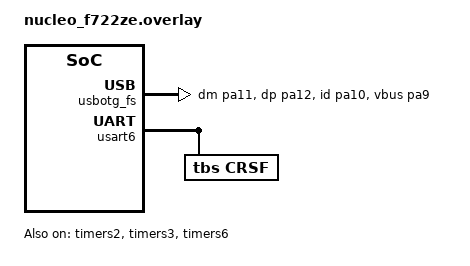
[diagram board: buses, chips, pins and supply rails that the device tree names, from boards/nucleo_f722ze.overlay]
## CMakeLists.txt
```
# zflight application
#
# Copyright (c) 2024 Arthur Eichelberger
# SPDX-License-Identifier: Apache-2.0

cmake_minimum_required(VERSION 3.13.1)

# Check the required build args were supplied
if (NOT DEFINED NUM_MOTORS)
    message(FATAL_ERROR "NUM_MOTORS not set")
else()
    set(ENV{NUM_MOTORS} ${NUM_MOTORS})
endif()
if (NOT DEFINED ESC_TYPE)
    message(FATAL_ERROR "ESC_TYPE not set")
endif()
if (NOT DEFINED RX_TYPE)
    message(FATAL_ERROR "RX_TYPE not set")
endif()

# Set important directories
set(APP_DIR ${CMAKE_CURRENT_LIST_DIR})
set(ZEPHYR_WORKSPACE ${APP_DIR}/../..)
set(ENV{ZEPHYR_BASE} ${ZEPHYR_WORKSPACE}/zephyr)
set(ENV{ZEPHYR_SDK_INSTALL_DIR} ${ZEPHYR_WORKSPACE}/zephyr-sdk)
set(ZFLIGHT_DIR ${ZEPHYR_WORKSPACE}/zflight)

# Set the CMake build type from Zephur
if (${CMAKE_BUILD_TYPE} STREQUAL "Debug")
    set(CMAKE_C_FLAGS_DEBUG "-Og")
    list(APPEND EXTRA_CONF_FILE "prj_debug.conf") 
endif()

# Set snippets from inputs
set(ESC_SNIPPET esc-${ESC_TYPE})
set(RX_SNIPPET rx-${RX_TYPE})
list(APPEND SNIPPET 
    usb-terminal
#    ${ESC_SNIPPET}
    ${RX_SNIPPET}
)

# Configure Zephyr
find_package(Zephyr REQUIRED HINTS $ENV{ZEPHYR_BASE})
project(zflight LANGUAGES C)

# Configure zflight source
target_include_directories(app PRIVATE include)
file(GLOB_RECURSE SRCS src/*.c)
target_sources(app PRIVATE ${SRCS})
```

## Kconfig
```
# Copyright (c) 2024 Arthur Eichelberger
# SPDX-License-Identifier: Apache-2.0

menu "zflight"
source "Kconfig.zephyr"
endmenu

module = ZFLIGHT
module-str = ZFLIGHT
source "subsys/logging/Kconfig.template.log_config"

config ZFLIGHT_NUM_MOTORS
	int
    default $(NUM_MOTORS)
	help
	  Configure the number of motors on the platform.
```

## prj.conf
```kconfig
# This file is used to configure the required systems for all platforms.

# Config the bin file name
CONFIG_KERNEL_BIN_NAME="zflight"

# Enable Counters
CONFIG_COUNTER=y

# Enable GPIO
CONFIG_GPIO=y

# Enable UART
CONFIG_SERIAL=y
CONFIG_UART_INTERRUPT_DRIVEN=y
#CONFIG_UART_ASYNC_API=y

# Enable terminal
CONFIG_LOG=y
CONFIG_LOG_DEFAULT_LEVEL=1
CONFIG_SHELL=y
CONFIG_SHELL_PROMPT_UART="zflight:~$ "
CONFIG_SHELL_MINIMAL=y
CONFIG_SHELL_HELP=y
CONFIG_SHELL_AUTOSTART=n

# Enable State Machine Framework
CONFIG_SMF=y

# Test features
CONFIG_OUTPUT_DISASSEMBLY=y
CONFIG_RC_LINK_SHELL=y
CONFIG_RC_LINK_LOG_LEVEL_INF=y
CONFIG_DSHOT_BIDIR=n # untested
CONFIG_DSHOT_STM32_DMA_BURST=n # untested
```

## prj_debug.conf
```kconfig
CONFIG_DEBUG_OPTIMIZATIONS=y
```

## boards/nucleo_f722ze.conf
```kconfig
CONFIG_USB_DEVICE_VID=0x0483
CONFIG_USB_DEVICE_PID=0x5740
CONFIG_USB_DEVICE_MANUFACTURER="STMicroelectronics"
```

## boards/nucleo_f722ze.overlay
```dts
/*
 * Copyright (c) 2024 Arthur Eichelberger
 *
 * SPDX-License-Identifier: Apache-2.0
 */

/ {
	chosen {
		zflight,flight-counter = &flight_timer;
	};

	dshots: esc-manager {
		compatible = "esc-manager";
		m1 {
			esc = <&m1_dshot>;
			motor-index = <0>;
		};
		m2 {
			esc = <&m2_dshot>;
			motor-index = <1>;
		};
		m3 {
			esc = <&m3_dshot>;
			motor-index = <2>;
		};
		m4 {
			esc = <&m4_dshot>;
			motor-index = <3>;
		};
	};
};

&pwm1 {
    status = "disabled";
};

&dma1 {
    status = "okay";
};

zflight_terminal: &usbotg_fs {
	pinctrl-0 = <&usb_otg_fs_dm_pa11 &usb_otg_fs_dp_pa12 &usb_otg_fs_id_pa10 &usb_otg_fs_vbus_pa9>;
	pinctrl-names = "default";
	status = "okay";
};

&usart6 {
	status = "okay";
	fifo-enable;
	dmas =  <&dma2 1 5 0x28440 0x3>,
			<&dma2 6 5 0x28480 0x3>;
	dma-names = "tx", "rx";
	crsf: rc_link_crsf {
		compatible = "tbs,crsf";
		elrs;
		addr = <0xC8>;
		dev_name = "zflight";
	};
};

&timers2 {
	status = "okay";
	dshot1: dshot {
		compatible = "st,stm32-dshot";
		pinctrl-0 = <&tim2_ch1_pa0>,
					<&tim2_ch3_pb10>,
					<&tim2_ch4_pb11>;
		pinctrl-names = "default";
		dmas =  <&dma1 1 3 0x3D440 3>,
				<&dma1 5 3 0x3D440 0>,
				<&dma1 1 3 0x3D440 0>,
				<&dma1 7 3 0x3D440 0>;
		dma-names = "up", "ch1", "ch3", "ch4";
		default-type = <300>;
		use-dma-burst;
		#esc-cells = <1>;
		m1_dshot: ch1 {
			channel = <1>;
			status = "okay";
		};
		ch2 {
			channel = <2>;
			status = "disabled";
		};
		m2_dshot: ch3 {
			channel = <3>;
			status = "okay";
		};
		m3_dshot: ch4 {
			channel = <4>;
			status = "okay";
		};
		status = "okay";
	};
};

&timers3 {
	status = "okay";
	dshot2: dshot {
		compatible = "st,stm32-dshot";
		pinctrl-0 = <&tim3_ch3_pb0>;
		pinctrl-names = "default";
		dmas =  <&dma1 2 5 0x3D440 3>,
				<&dma1 7 5 0x3D440 0>;
		dma-names = "up", "ch3";
		default-type = <300>;
		use-dma-burst;
		#esc-cells = <1>;
		ch1 {
			channel = <1>;
			status = "disabled";
		};
		ch2 {
			channel = <2>;
			status = "disabled";
		};
		m4_dshot: ch3 {
			channel = <3>;
			status = "okay";
		};
		ch4 {
			channel = <4>;
			status = "disabled";
		};
		status = "okay";
	};
};

&timers6 {
	status = "okay";
	flight_timer: counter {
		status = "okay";
	};
};
```

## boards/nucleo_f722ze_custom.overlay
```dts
/*
 * Copyright (c) 2024 Arthur Eichelberger
 *
 * SPDX-License-Identifier: Apache-2.0
 */
```

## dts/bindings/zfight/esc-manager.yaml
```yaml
# Copyright (c) 2024, Arthur Eichelberger
# SPDX-License-Identifier: Apache-2.0

description: |
  TODO

compatible: "esc-manager"

child-binding:
  description: Motor child node
  properties:
    esc:
      type: phandle
      required: true
    motor-index:
      type: int
      required: true
```

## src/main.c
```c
/*
 * Copyright (c) 2024 Arthur Eichelberger
 *
 * SPDX-License-Identifier: Apache-2.0
 */

#include <zflight/app.h>

int main(void)
{
    int err;

    err = zflight_app_init();
    if (!err) {
        err = zflight_app_run();
    }

    /* Should never get here */
    return err;
}
```

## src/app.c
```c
/*
 * Copyright (c) 2024 Arthur Eichelberger
 *
 * SPDX-License-Identifier: Apache-2.0
 */

#include <zflight/app.h>
#include "states/state_machine.h"

struct zflight_app app;

int zflight_app_init()
{
    // app.ctx init with zflight_smf_init() below
    app.state = ZFLIGHT_APP_STATE_INIT;
    for (int i = 0; i < ZFLIGHT_APP_NUM_SIGNALS; ++i) {
        k_poll_signal_init(&app.signals[i]);
    }
    app.arm_flags = 0;

    return zflight_smf_init(&app);
}

int zflight_app_run()
{
    int err = 0;

    while(1) {
        err = zflight_smf_run(&app);
        if (err) {
            break;
        }
    }

    // @todo save error to flash?

    return err;
}

static inline void handle_terminal_event(int event_data)
{
    (void)k_poll_signal_raise(
        &app.signals[ZFLIGHT_APP_SIGNAL_TERMINAL], event_data);
}

static inline void handle_arm_switch_event(int event_data)
{
    (void)k_poll_signal_raise(
        &app.signals[ZFLIGHT_APP_SIGNAL_ARMED], event_data);
}

void zflight_app_notify_event(enum zflight_app_event event, int event_data)
{
    switch (event)
    {
    case ZFLIGHT_APP_EVENT_TERMINAL:
        handle_terminal_event(event_data);
        break;
    case ZFLIGHT_APP_EVENT_ARM_SWITCH:
        handle_arm_switch_event(event_data);
        break;
    default:
        break;
    }
}

int zflight_app_arming_prohinited()
{
    return 1;
}
```
